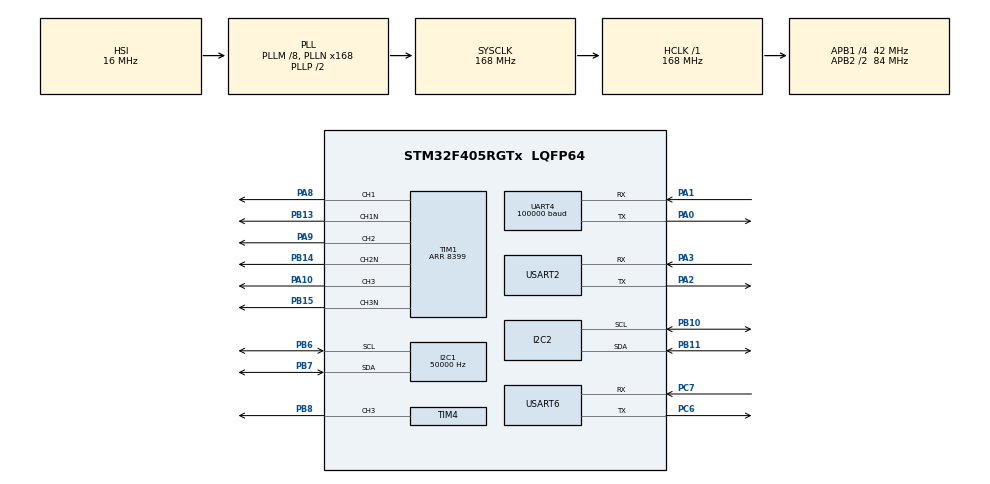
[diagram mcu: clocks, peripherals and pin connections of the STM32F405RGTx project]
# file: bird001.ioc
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I2C1.ClockSpeed=50000
Mcu.Family=STM32F4
Mcu.Name=STM32F405RGTx
Mcu.Package=LQFP64
NVIC.PriorityGroup=NVIC_PRIORITYGROUP_4
NVIC.TIM2_IRQn=true\:0\:0\:false\:false\:true\:true\:true\:true
NVIC.UART4_IRQn=true\:5\:0\:false\:false\:true\:true\:true\:true
NVIC.USART6_IRQn=true\:5\:0\:false\:false\:true\:true\:true\:true
PA0-WKUP.Mode=Asynchronous
PA0-WKUP.GPIO_PuPd=GPIO_PULLUP
PA0-WKUP.Signal=UART4_TX
PA1.Mode=Asynchronous
PA1.GPIO_PuPd=GPIO_PULLUP
PA1.Signal=UART4_RX
PA10.Signal=S_TIM1_CH3
PA13.Mode=Serial_Wire
PA13.Signal=SYS_JTMS-SWDIO
PA14.Mode=Serial_Wire
PA14.Signal=SYS_JTCK-SWCLK
PA2.Mode=Asynchronous
PA2.Signal=USART2_TX
PA3.Mode=Asynchronous
PA3.Signal=USART2_RX
PA8.Signal=S_TIM1_CH1
PA9.Signal=S_TIM1_CH2
PB10.Mode=I2C
PB10.Signal=I2C2_SCL
PB11.Mode=I2C
PB11.Signal=I2C2_SDA
PB13.Mode=PWM Generation1 CH1 CH1N
PB13.Signal=TIM1_CH1N
PB14.Mode=PWM Generation2 CH2 CH2N
PB14.Signal=TIM1_CH2N
PB15.Mode=PWM Generation3 CH3 CH3N
PB15.Signal=TIM1_CH3N
PB6.GPIO_PuPd=GPIO_PULLUP
PB6.Mode=I2C
PB6.Signal=I2C1_SCL
PB7.GPIO_PuPd=GPIO_PULLUP
PB7.Mode=I2C
PB7.Signal=I2C1_SDA
PB8.Signal=S_TIM4_CH3
PC6.Mode=Asynchronous
PC6.Signal=USART6_TX
PC7.Mode=Asynchronous
PC7.Signal=USART6_RX
PH0-OSC_IN.Mode=HSE-External-Oscillator
PH0-OSC_IN.Signal=RCC_OSC_IN
PH1-OSC_OUT.Mode=HSE-External-Oscillator
PH1-OSC_OUT.Signal=RCC_OSC_OUT
ProjectManager.HeapSize=0x200
ProjectManager.StackSize=0x400
ProjectManager.TargetToolchain=CMake
RCC.48MHZClocksFreq_Value=84000000
RCC.AHBFreq_Value=168000000
RCC.APB1CLKDivider=RCC_HCLK_DIV4
RCC.APB1Freq_Value=42000000
RCC.APB1TimFreq_Value=84000000
RCC.APB2CLKDivider=RCC_HCLK_DIV2
RCC.APB2Freq_Value=84000000
RCC.APB2TimFreq_Value=168000000
RCC.CortexFreq_Value=168000000
RCC.HCLKFreq_Value=168000000
RCC.HSE_VALUE=25000000
RCC.HSI_VALUE=16000000
RCC.LSE_VALUE=32768
RCC.PLLM=8
RCC.PLLN=168
RCC.SYSCLKFreq_VALUE=168000000
RCC.SYSCLKSource=RCC_SYSCLKSOURCE_PLLCLK
RCC.VCOOutputFreq_Value=336000000
SH.S_TIM1_CH1.0=TIM1_CH1,PWM Generation1 CH1 CH1N
SH.S_TIM1_CH2.0=TIM1_CH2,PWM Generation2 CH2 CH2N
SH.S_TIM1_CH3.0=TIM1_CH3,PWM Generation3 CH3 CH3N
SH.S_TIM4_CH3.0=TIM4_CH3,PWM Generation3 CH3
TIM1.Channel-PWM\ Generation1\ CH1\ CH1N=TIM_CHANNEL_1
TIM1.Channel-PWM\ Generation2\ CH2\ CH2N=TIM_CHANNEL_2
TIM1.Channel-PWM\ Generation3\ CH3\ CH3N=TIM_CHANNEL_3
TIM1.Period=8399
TIM2.AutoReloadPreload=TIM_AUTORELOAD_PRELOAD_ENABLE
TIM4.AutoReloadPreload=TIM_AUTORELOAD_PRELOAD_ENABLE
TIM4.Channel-PWM\ Generation3\ CH3=TIM_CHANNEL_3
TIM4.Period=19999
TIM4.Prescaler=83
UART4.BaudRate=100000
UART4.Mode=MODE_RX
UART4.Parity=PARITY_EVEN
UART4.StopBits=UART_STOPBITS_2
UART4.VirtualMode=Asynchronous
UART4.WordLength=WORDLENGTH_9B
USART2.VirtualMode=VM_ASYNC
USART6.VirtualMode=VM_ASYNC
VP_TIM2_VS_ClockSourceINT.Mode=Internal
board=custom

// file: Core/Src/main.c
/* USER CODE BEGIN Header */
/**
  ******************************************************************************
  * @file           : main.c
  * @brief          : Main program body
  ******************************************************************************
  * @attention
  *
  * Copyright (c) 2026 STMicroelectronics.
  * All rights reserved.
  *
  * This software is licensed under terms that can be found in the LICENSE file
  * in the root directory of this software component.
  * If no LICENSE file comes with this software, it is provided AS-IS.
  *
  ******************************************************************************
  */
/* USER CODE END Header */
#include "main.h"
#include "i2c.h"
#include "tim.h"
#include "usart.h"
#include "gpio.h"

/* USER CODE BEGIN Includes */
#include "app_freertos.h"
#include "BLDC.h"
/* USER CODE END Includes */

void SystemClock_Config(void);

/* USER CODE BEGIN 0 */
static void HoldMotorOutputsOff(void)
{
  GPIO_InitTypeDef gpio = {0};
  __HAL_RCC_GPIOA_CLK_ENABLE();
  __HAL_RCC_GPIOB_CLK_ENABLE();
  /* EG2133 both OFF: HIN=0, active-low LIN=1. Set levels before output mode. */
  HAL_GPIO_WritePin(GPIOA, GPIO_PIN_8 | GPIO_PIN_9 | GPIO_PIN_10, GPIO_PIN_RESET);
  HAL_GPIO_WritePin(GPIOB, GPIO_PIN_13 | GPIO_PIN_14 | GPIO_PIN_15, GPIO_PIN_SET);
  gpio.Mode = GPIO_MODE_OUTPUT_PP;
  gpio.Pull = GPIO_NOPULL;
  gpio.Speed = GPIO_SPEED_FREQ_LOW;
  gpio.Pin = GPIO_PIN_8 | GPIO_PIN_9 | GPIO_PIN_10;
  HAL_GPIO_Init(GPIOA, &gpio);
  gpio.Pin = GPIO_PIN_13 | GPIO_PIN_14 | GPIO_PIN_15;
  HAL_GPIO_Init(GPIOB, &gpio);
#if APP_SBUS_ONLY
  HAL_GPIO_WritePin(GPIOB, GPIO_PIN_8, GPIO_PIN_RESET); /* No servo PWM in bench mode. */
  gpio.Pin = GPIO_PIN_8;
  HAL_GPIO_Init(GPIOB, &gpio);
#endif
}

int __io_putchar(int ch)
{
  const char byte = (char)ch;
  return App_LogWrite(&byte, 1) == 1 ? ch : -1;
}
/* USER CODE END 0 */

int main(void)
{

  /* MCU Configuration--------------------------------------------------------*/

  /* Reset of all peripherals, Initializes the Flash interface and the Systick. */
  HAL_Init();

  /* USER CODE BEGIN Init */
  HoldMotorOutputsOff();
  /* USER CODE END Init */

  /* Configure the system clock */
  SystemClock_Config();

  /* Initialize all configured peripherals */
  MX_GPIO_Init();
  MX_USART6_UART_Init();
#if !APP_SBUS_ONLY
  MX_I2C1_Init();
#if APP_MOTOR_TASK_ENABLED
  MX_TIM1_Init();
  MX_TIM2_Init();
#endif
  MX_USART2_UART_Init();
  MX_TIM4_Init();
  MX_I2C2_Init();
#endif
  MX_UART4_Init();
  /* USER CODE BEGIN 2 */
#if !APP_SBUS_ONLY && APP_MOTOR_TASK_ENABLED
  BLDC_Init();
  BLDC_SetDutyPercent(0U); /* Remain stopped until a valid low-then-high CH3 request. */
#endif
  App_Start();
/* USER CODE END 2 */

  /* Infinite loop */
  while (1)
  {
  }
}

void SystemClock_Config(void)
{
  RCC_OscInitTypeDef RCC_OscInitStruct = {0};
  RCC_ClkInitTypeDef RCC_ClkInitStruct = {0};

  /** Configure the main internal regulator output voltage
  */
  __HAL_RCC_PWR_CLK_ENABLE();
  __HAL_PWR_VOLTAGESCALING_CONFIG(PWR_REGULATOR_VOLTAGE_SCALE1);

  /** Initializes the RCC Oscillators according to the specified parameters
  * in the RCC_OscInitTypeDef structure.
  */
  RCC_OscInitStruct.OscillatorType = RCC_OSCILLATORTYPE_HSI;
  RCC_OscInitStruct.HSIState = RCC_HSI_ON;
  RCC_OscInitStruct.HSICalibrationValue = RCC_HSICALIBRATION_DEFAULT;
  RCC_OscInitStruct.PLL.PLLState = RCC_PLL_ON;
  RCC_OscInitStruct.PLL.PLLSource = RCC_PLLSOURCE_HSI;
  RCC_OscInitStruct.PLL.PLLM = 8;
  RCC_OscInitStruct.PLL.PLLN = 168;
  RCC_OscInitStruct.PLL.PLLP = RCC_PLLP_DIV2;
  RCC_OscInitStruct.PLL.PLLQ = 4;
  if (HAL_RCC_OscConfig(&RCC_OscInitStruct) != HAL_OK)
  {
    Error_Handler();
  }

  /** Initializes the CPU, AHB and APB buses clocks
  */
  RCC_ClkInitStruct.ClockType = RCC_CLOCKTYPE_HCLK|RCC_CLOCKTYPE_SYSCLK
                              |RCC_CLOCKTYPE_PCLK1|RCC_CLOCKTYPE_PCLK2;
  RCC_ClkInitStruct.SYSCLKSource = RCC_SYSCLKSOURCE_PLLCLK;
  RCC_ClkInitStruct.AHBCLKDivider = RCC_SYSCLK_DIV1;
  RCC_ClkInitStruct.APB1CLKDivider = RCC_HCLK_DIV4;
  RCC_ClkInitStruct.APB2CLKDivider = RCC_HCLK_DIV2;

  if (HAL_RCC_ClockConfig(&RCC_ClkInitStruct, FLASH_LATENCY_5) != HAL_OK)
  {
    Error_Handler();
  }
}

/* USER CODE BEGIN 4 */
void HAL_TIM_PeriodElapsedCallback(TIM_HandleTypeDef *htim)
{
#if !APP_SBUS_ONLY && APP_MOTOR_TASK_ENABLED
  BLDC_TIM_PeriodElapsedCallback(htim);
#else
  (void)htim;
#endif
}
/* USER CODE END 4 */

void Error_Handler(void)
{
  /* USER CODE BEGIN Error_Handler_Debug */
  /* User can add his own implementation to report the HAL error return state */
  __disable_irq();
#if !APP_SBUS_ONLY && APP_MOTOR_TASK_ENABLED
  if (htim1.Instance == TIM1 && htim2.Instance == TIM2)
  {
    BLDC_EmergencyStop();
  }
#endif
  while (1)
  {
  }
  /* USER CODE END Error_Handler_Debug */
}
